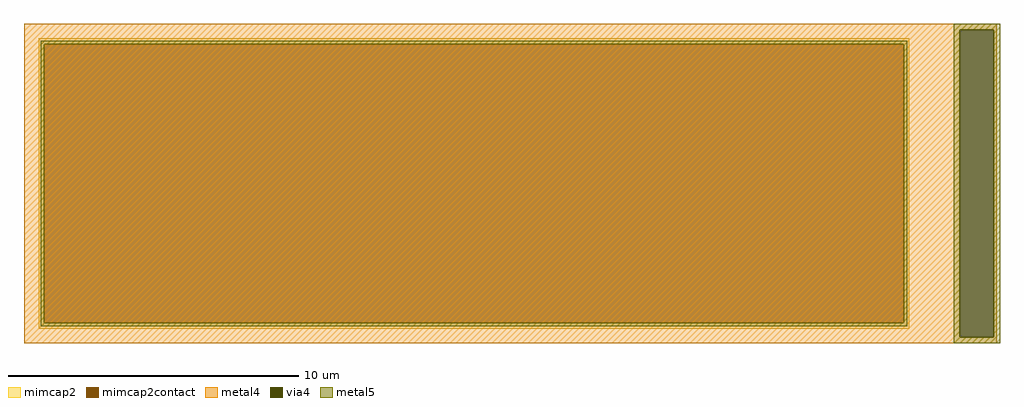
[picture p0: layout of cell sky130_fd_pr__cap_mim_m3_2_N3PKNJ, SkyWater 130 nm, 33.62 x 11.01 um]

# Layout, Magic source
magic
tech sky130A
magscale 1 2
<< metal4 >>
rect -3351 1059 3351 1100
rect -3351 -1059 3095 1059
rect 3331 -1059 3351 1059
rect -3351 -1100 3351 -1059
<< via4 >>
rect 3095 -1059 3331 1059
<< mimcap2 >>
rect -3251 960 2749 1000
rect -3251 -960 -3211 960
rect 2709 -960 2749 960
rect -3251 -1000 2749 -960
<< mimcap2contact >>
rect -3211 -960 2709 960
<< metal5 >>
rect 3053 1059 3373 1101
rect -3235 960 2733 984
rect -3235 -960 -3211 960
rect 2709 -960 2733 960
rect -3235 -984 2733 -960
rect 3053 -1059 3095 1059
rect 3331 -1059 3373 1059
rect 3053 -1101 3373 -1059
<< properties >>
string FIXED_BBOX -3351 -1100 2849 1100
string gencell sky130_fd_pr__cap_mim_m3_2
string library sky130
string parameters w 30 l 10 val 615.2 carea 2.00 cperi 0.19 nx 1 ny 1 dummy 0 square 0 lmin 2.00 wmin 2.00 lmax 30.0 wmax 30.0 dc 0 bconnect 1 tconnect 1 ccov 100
<< end >>
